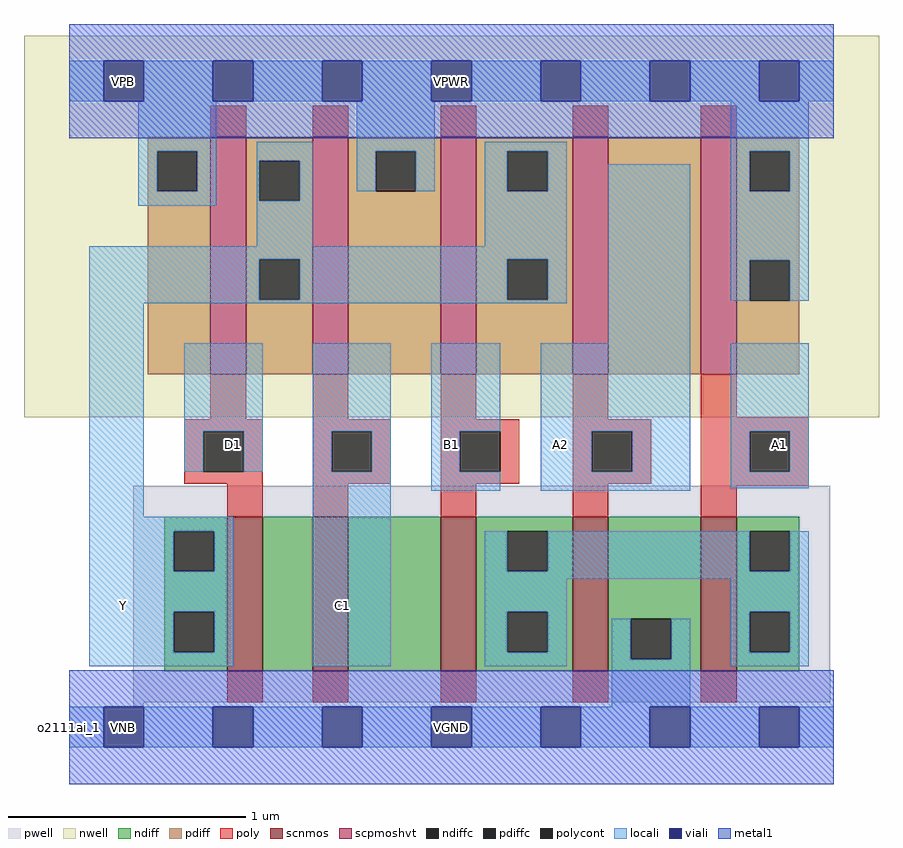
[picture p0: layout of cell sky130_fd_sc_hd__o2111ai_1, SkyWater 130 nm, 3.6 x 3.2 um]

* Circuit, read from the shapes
.subckt sky130_fd_sc_hd__o2111ai_1 A1 A2 B1 C1 D1 VGND VNB VPB VPWR Y
XM1 n1 D1 Y VNB sky130_fd_pr__nfet_01v8 w=0.65 l=0.15
XM2 n2 C1 n1 VNB sky130_fd_pr__nfet_01v8 w=0.65 l=0.15
XM3 n3 B1 n2 VNB sky130_fd_pr__nfet_01v8 w=0.65 l=0.15
XM4 VGND A2 n3 VNB sky130_fd_pr__nfet_01v8 w=0.65 l=0.15
XM5 n3 A1 VGND VNB sky130_fd_pr__nfet_01v8 w=0.65 l=0.15
XM6 Y D1 VPWR VPB sky130_fd_pr__pfet_01v8_hvt w=1 l=0.15
XM7 VPWR C1 Y VPB sky130_fd_pr__pfet_01v8_hvt w=1 l=0.15
XM8 Y B1 VPWR VPB sky130_fd_pr__pfet_01v8_hvt w=1 l=0.15
XM9 n4 A2 Y VPB sky130_fd_pr__pfet_01v8_hvt w=1 l=0.15
XM10 VPWR A1 n4 VPB sky130_fd_pr__pfet_01v8_hvt w=1 l=0.15
.ends

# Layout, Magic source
magic
tech sky130A
magscale 1 2
<< nwell >>
rect -38 261 682 582
<< pwell >>
rect 54 21 641 203
rect 54 17 63 21
rect 29 -17 63 17
<< scnmos >>
rect 133 47 163 177
rect 205 47 235 177
rect 313 47 343 177
rect 424 47 454 177
rect 532 47 562 177
<< scpmoshvt >>
rect 119 297 149 497
rect 205 297 235 497
rect 313 297 343 497
rect 424 297 454 497
rect 532 297 562 497
<< ndiff >>
rect 80 165 133 177
rect 80 131 88 165
rect 122 131 133 165
rect 80 97 133 131
rect 80 63 88 97
rect 122 63 133 97
rect 80 47 133 63
rect 163 47 205 177
rect 235 47 313 177
rect 343 165 424 177
rect 343 131 369 165
rect 403 131 424 165
rect 343 97 424 131
rect 343 63 369 97
rect 403 63 424 97
rect 343 47 424 63
rect 454 91 532 177
rect 454 57 473 91
rect 507 57 532 91
rect 454 47 532 57
rect 562 165 615 177
rect 562 131 573 165
rect 607 131 615 165
rect 562 97 615 131
rect 562 63 573 97
rect 607 63 615 97
rect 562 47 615 63
<< pdiff >>
rect 66 485 119 497
rect 66 451 74 485
rect 108 451 119 485
rect 66 297 119 451
rect 149 477 205 497
rect 149 443 160 477
rect 194 443 205 477
rect 149 394 205 443
rect 149 360 160 394
rect 194 360 205 394
rect 149 297 205 360
rect 235 485 313 497
rect 235 451 258 485
rect 292 451 313 485
rect 235 297 313 451
rect 343 485 424 497
rect 343 451 369 485
rect 403 451 424 485
rect 343 394 424 451
rect 343 360 369 394
rect 403 360 424 394
rect 343 297 424 360
rect 454 297 532 497
rect 562 485 615 497
rect 562 451 573 485
rect 607 451 615 485
rect 562 393 615 451
rect 562 359 573 393
rect 607 359 615 393
rect 562 297 615 359
<< ndiffc >>
rect 88 131 122 165
rect 88 63 122 97
rect 369 131 403 165
rect 369 63 403 97
rect 473 57 507 91
rect 573 131 607 165
rect 573 63 607 97
<< pdiffc >>
rect 74 451 108 485
rect 160 443 194 477
rect 160 360 194 394
rect 258 451 292 485
rect 369 451 403 485
rect 369 360 403 394
rect 573 451 607 485
rect 573 359 607 393
<< poly >>
rect 119 497 149 523
rect 205 497 235 523
rect 313 497 343 523
rect 424 497 454 523
rect 532 497 562 523
rect 119 259 149 297
rect 205 259 235 297
rect 313 259 343 297
rect 424 259 454 297
rect 532 261 562 297
rect 97 249 163 259
rect 97 215 113 249
rect 147 215 163 249
rect 97 205 163 215
rect 133 177 163 205
rect 205 249 271 259
rect 205 215 221 249
rect 255 215 271 249
rect 205 205 271 215
rect 313 249 379 259
rect 313 215 329 249
rect 363 215 379 249
rect 313 205 379 215
rect 424 249 490 259
rect 424 215 440 249
rect 474 215 490 249
rect 424 205 490 215
rect 532 249 623 261
rect 532 215 573 249
rect 607 215 623 249
rect 205 177 235 205
rect 313 177 343 205
rect 424 177 454 205
rect 532 203 623 215
rect 532 177 562 203
rect 133 21 163 47
rect 205 21 235 47
rect 313 21 343 47
rect 424 21 454 47
rect 532 21 562 47
<< polycont >>
rect 113 215 147 249
rect 221 215 255 249
rect 329 215 363 249
rect 440 215 474 249
rect 573 215 607 249
<< locali >>
rect 0 527 29 561
rect 63 527 121 561
rect 155 527 213 561
rect 247 527 305 561
rect 339 527 397 561
rect 431 527 489 561
rect 523 527 581 561
rect 615 527 644 561
rect 58 485 124 527
rect 58 451 74 485
rect 108 451 124 485
rect 58 439 124 451
rect 158 477 205 493
rect 158 443 160 477
rect 194 443 205 477
rect 242 485 308 527
rect 242 451 258 485
rect 292 451 308 485
rect 350 485 419 493
rect 350 451 369 485
rect 403 451 419 485
rect 557 485 623 527
rect 158 405 205 443
rect 350 405 419 451
rect 17 394 419 405
rect 17 360 160 394
rect 194 360 369 394
rect 403 360 419 394
rect 17 357 419 360
rect 17 177 63 357
rect 454 323 523 474
rect 557 451 573 485
rect 607 451 623 485
rect 557 393 623 451
rect 557 359 573 393
rect 607 359 623 393
rect 97 249 163 323
rect 97 215 113 249
rect 147 215 163 249
rect 205 249 271 323
rect 205 215 221 249
rect 255 215 271 249
rect 17 165 138 177
rect 17 131 88 165
rect 122 131 138 165
rect 17 97 138 131
rect 17 63 88 97
rect 122 63 138 97
rect 17 51 138 63
rect 205 51 271 215
rect 305 249 363 323
rect 305 215 329 249
rect 305 199 363 215
rect 397 249 523 323
rect 397 215 440 249
rect 474 215 523 249
rect 397 199 523 215
rect 557 249 623 323
rect 557 215 573 249
rect 607 215 623 249
rect 557 201 623 215
rect 350 131 369 165
rect 403 131 573 165
rect 607 131 623 165
rect 350 125 623 131
rect 350 97 419 125
rect 350 63 369 97
rect 403 63 419 97
rect 557 97 623 125
rect 350 51 419 63
rect 457 57 473 91
rect 507 57 523 91
rect 457 17 523 57
rect 557 63 573 97
rect 607 63 623 97
rect 557 51 623 63
rect 0 -17 29 17
rect 63 -17 121 17
rect 155 -17 213 17
rect 247 -17 305 17
rect 339 -17 397 17
rect 431 -17 489 17
rect 523 -17 581 17
rect 615 -17 644 17
<< viali >>
rect 29 527 63 561
rect 121 527 155 561
rect 213 527 247 561
rect 305 527 339 561
rect 397 527 431 561
rect 489 527 523 561
rect 581 527 615 561
rect 29 -17 63 17
rect 121 -17 155 17
rect 213 -17 247 17
rect 305 -17 339 17
rect 397 -17 431 17
rect 489 -17 523 17
rect 581 -17 615 17
<< metal1 >>
rect 0 561 644 592
rect 0 527 29 561
rect 63 527 121 561
rect 155 527 213 561
rect 247 527 305 561
rect 339 527 397 561
rect 431 527 489 561
rect 523 527 581 561
rect 615 527 644 561
rect 0 496 644 527
rect 0 17 644 48
rect 0 -17 29 17
rect 63 -17 121 17
rect 155 -17 213 17
rect 247 -17 305 17
rect 339 -17 397 17
rect 431 -17 489 17
rect 523 -17 581 17
rect 615 -17 644 17
rect 0 -48 644 -17
<< labels >>
flabel locali s 121 221 155 255 0 FreeSans 340 0 0 0 D1
port 5 nsew signal input
flabel locali s 213 85 247 119 0 FreeSans 340 0 0 0 C1
port 4 nsew signal input
flabel locali s 397 221 431 255 0 FreeSans 340 0 0 0 A2
port 2 nsew signal input
flabel locali s 581 221 615 255 0 FreeSans 340 0 0 0 A1
port 1 nsew signal input
flabel locali s 305 221 339 255 0 FreeSans 340 0 0 0 B1
port 3 nsew signal input
flabel locali s 29 85 63 119 0 FreeSans 340 0 0 0 Y
port 10 nsew signal output
flabel nwell s 29 527 63 561 0 FreeSans 200 0 0 0 VPB
port 8 nsew power bidirectional
flabel pwell s 29 -17 63 17 0 FreeSans 200 0 0 0 VNB
port 7 nsew ground bidirectional
flabel metal1 s 29 -17 63 17 0 FreeSans 200 0 0 0 VGND
port 6 nsew ground bidirectional abutment
flabel metal1 s 29 527 63 561 0 FreeSans 200 0 0 0 VPWR
port 9 nsew power bidirectional abutment
rlabel comment s 0 0 0 0 4 o2111ai_1
rlabel metal1 s 0 -48 644 48 1 VGND
port 6 nsew ground bidirectional abutment
rlabel metal1 s 0 496 644 592 1 VPWR
port 9 nsew power bidirectional abutment
<< properties >>
string FIXED_BBOX 0 0 644 544
string GDS_END 951098
string GDS_FILE $PDKPATH/libs.ref/sky130_fd_sc_hd/gds/sky130_fd_sc_hd.gds
string GDS_START 945062
string LEFclass CORE
string LEFsite unithd
string LEFsymmetry X Y R90
string path 0.000 0.000 3.220 0.000 
<< end >>
